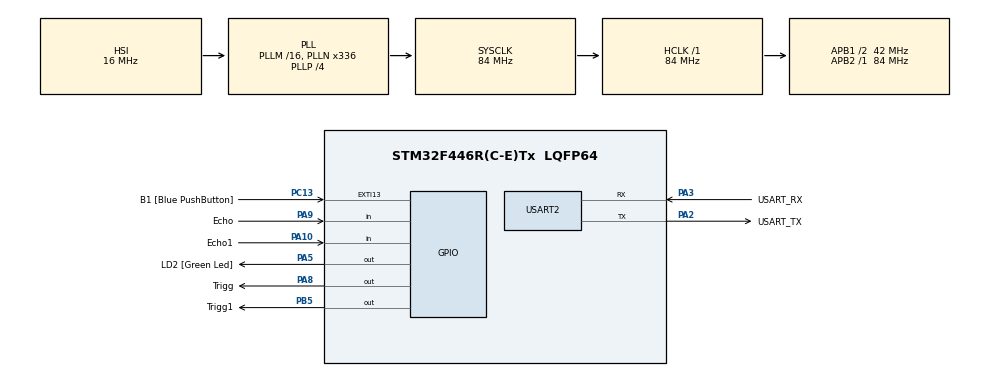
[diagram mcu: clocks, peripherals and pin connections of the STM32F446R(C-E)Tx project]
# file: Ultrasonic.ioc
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FREERTOS.Tasks01=Task01,0,128,StartTask01,Default,NULL,Dynamic,NULL,NULL;myTask02,2,128,StartTask02,Default,NULL,Dynamic,NULL,NULL
Mcu.Family=STM32F4
Mcu.Name=STM32F446R(C-E)Tx
Mcu.Package=LQFP64
NVIC.PriorityGroup=NVIC_PRIORITYGROUP_4
PA10.GPIO_Label=Echo1
PA10.Signal=GPIO_Input
PA13.GPIO_Label=TMS
PA13.Mode=Serial_Wire
PA13.Signal=SYS_JTMS-SWDIO
PA14.GPIO_Label=TCK
PA14.Mode=Serial_Wire
PA14.Signal=SYS_JTCK-SWCLK
PA2.GPIO_Label=USART_TX
PA2.Mode=Asynchronous
PA2.Signal=USART2_TX
PA3.GPIO_Label=USART_RX
PA3.Mode=Asynchronous
PA3.Signal=USART2_RX
PA5.GPIO_Label=LD2 [Green Led]
PA5.Signal=GPIO_Output
PA8.GPIO_Label=Trigg
PA8.Signal=GPIO_Output
PA9.GPIO_Label=Echo
PA9.Signal=GPIO_Input
PB3.GPIO_Label=SWO
PB3.Signal=SYS_JTDO-SWO
PB5.GPIO_Label=Trigg1
PB5.Signal=GPIO_Output
PC13.GPIO_Label=B1 [Blue PushButton]
PC13.GPIO_ModeDefaultEXTI=GPIO_MODE_IT_FALLING
PC13.Signal=GPXTI13
PC14-OSC32_IN.Mode=LSE-External-Oscillator
PC14-OSC32_IN.Signal=RCC_OSC32_IN
PC15-OSC32_OUT.Mode=LSE-External-Oscillator
PC15-OSC32_OUT.Signal=RCC_OSC32_OUT
PH0-OSC_IN.Mode=HSE-External-Oscillator
PH0-OSC_IN.Signal=RCC_OSC_IN
PH1-OSC_OUT.Mode=HSE-External-Oscillator
PH1-OSC_OUT.Signal=RCC_OSC_OUT
ProjectManager.HeapSize=0x200
ProjectManager.StackSize=0x400
ProjectManager.TargetToolchain=STM32CubeIDE
RCC.48MHZClocksFreq_Value=84000000
RCC.AHBFreq_Value=84000000
RCC.APB1CLKDivider=RCC_HCLK_DIV2
RCC.APB1Freq_Value=42000000
RCC.APB1TimFreq_Value=84000000
RCC.APB2Freq_Value=84000000
RCC.APB2TimFreq_Value=84000000
RCC.CortexFreq_Value=84000000
RCC.FLatency-AdvancedSettings=FLASH_LATENCY_2
RCC.HCLKFreq_Value=84000000
RCC.HSE_VALUE=8000000
RCC.HSI_VALUE=16000000
RCC.PLLN=336
RCC.PLLP=RCC_PLLP_DIV4
RCC.SYSCLKFreq_VALUE=84000000
RCC.SYSCLKSource=RCC_SYSCLKSOURCE_PLLCLK
RCC.USBFreq_Value=168000000
RCC.VCOOutputFreq_Value=336000000
TIM4.Prescaler=84-1
USART2.VirtualMode=VM_ASYNC
VP_FREERTOS_VS_CMSIS_V1.Mode=CMSIS_V1
VP_TIM4_VS_ClockSourceINT.Mode=Internal
board=NUCLEO-F446RE

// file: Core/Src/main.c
/* USER CODE BEGIN Header */
/**
  ******************************************************************************
  * @file           : main.c
  * @brief          : Main program body
  ******************************************************************************
  * @attention
  *
  * Copyright (c) 2022 STMicroelectronics.
  * All rights reserved.
  *
  * This software is licensed under terms that can be found in the LICENSE file
  * in the root directory of this software component.
  * If no LICENSE file comes with this software, it is provided AS-IS.
  *
  ******************************************************************************
  */
/* USER CODE END Header */
#include "main.h"
#include <string.h>
#include <stdio.h>
#include "cmsis_os.h"
#define usTIM	TIM4

/* USER CODE BEGIN PD */
const float speedOfSound = 0.0343/2;
float distance;

char uartBuf[100];
/* USER CODE END PD */

TIM_HandleTypeDef htim4;

UART_HandleTypeDef huart2;

osThreadId Task01Handle;
osThreadId myTask02Handle;

void SystemClock_Config(void);
static void MX_GPIO_Init(void);
static void MX_USART2_UART_Init(void);
static void MX_TIM4_Init(void);
void StartTask01(void const * argument);
void StartTask02(void const * argument);

int main(void)
{

  /* MCU Configuration--------------------------------------------------------*/

  /* Reset of all peripherals, Initializes the Flash interface and the Systick. */
  HAL_Init();

  /* Configure the system clock */
  SystemClock_Config();

  /* Initialize all configured peripherals */
  MX_GPIO_Init();
  MX_USART2_UART_Init();
  MX_TIM4_Init();

  /* Create the thread(s) */
  /* definition and creation of Task01 */
  osThreadDef(Task01, StartTask01, osPriorityNormal, 0, 128);
  Task01Handle = osThreadCreate(osThread(Task01), NULL);

  /* definition and creation of myTask02 */
  osThreadDef(myTask02, StartTask02, osPriorityHigh, 0, 128);
  myTask02Handle = osThreadCreate(osThread(myTask02), NULL);

  /* Start scheduler */
  osKernelStart();

  /* We should never get here as control is now taken by the scheduler */
  /* Infinite loop */
  while (1)
  {

    /* USER CODE BEGIN 3 */
		//Set TRIG to LOW for few uSec

  }
  /* USER CODE END 3 */
}

void SystemClock_Config(void)
{
  RCC_OscInitTypeDef RCC_OscInitStruct = {0};
  RCC_ClkInitTypeDef RCC_ClkInitStruct = {0};

  /** Configure the main internal regulator output voltage
  */
  __HAL_RCC_PWR_CLK_ENABLE();
  __HAL_PWR_VOLTAGESCALING_CONFIG(PWR_REGULATOR_VOLTAGE_SCALE3);

  /** Initializes the RCC Oscillators according to the specified parameters
  * in the RCC_OscInitTypeDef structure.
  */
  RCC_OscInitStruct.OscillatorType = RCC_OSCILLATORTYPE_HSI;
  RCC_OscInitStruct.HSIState = RCC_HSI_ON;
  RCC_OscInitStruct.HSICalibrationValue = RCC_HSICALIBRATION_DEFAULT;
  RCC_OscInitStruct.PLL.PLLState = RCC_PLL_ON;
  RCC_OscInitStruct.PLL.PLLSource = RCC_PLLSOURCE_HSI;
  RCC_OscInitStruct.PLL.PLLM = 16;
  RCC_OscInitStruct.PLL.PLLN = 336;
  RCC_OscInitStruct.PLL.PLLP = RCC_PLLP_DIV4;
  RCC_OscInitStruct.PLL.PLLQ = 2;
  RCC_OscInitStruct.PLL.PLLR = 2;
  if (HAL_RCC_OscConfig(&RCC_OscInitStruct) != HAL_OK)
  {
    Error_Handler();
  }

  /** Initializes the CPU, AHB and APB buses clocks
  */
  RCC_ClkInitStruct.ClockType = RCC_CLOCKTYPE_HCLK|RCC_CLOCKTYPE_SYSCLK
                              |RCC_CLOCKTYPE_PCLK1|RCC_CLOCKTYPE_PCLK2;
  RCC_ClkInitStruct.SYSCLKSource = RCC_SYSCLKSOURCE_PLLCLK;
  RCC_ClkInitStruct.AHBCLKDivider = RCC_SYSCLK_DIV1;
  RCC_ClkInitStruct.APB1CLKDivider = RCC_HCLK_DIV2;
  RCC_ClkInitStruct.APB2CLKDivider = RCC_HCLK_DIV1;

  if (HAL_RCC_ClockConfig(&RCC_ClkInitStruct, FLASH_LATENCY_2) != HAL_OK)
  {
    Error_Handler();
  }
}

static void MX_TIM4_Init(void)
{

  TIM_ClockConfigTypeDef sClockSourceConfig = {0};
  TIM_MasterConfigTypeDef sMasterConfig = {0};

  htim4.Instance = TIM4;
  htim4.Init.Prescaler = 84-1;
  htim4.Init.CounterMode = TIM_COUNTERMODE_UP;
  htim4.Init.Period = 65535;
  htim4.Init.ClockDivision = TIM_CLOCKDIVISION_DIV1;
  htim4.Init.AutoReloadPreload = TIM_AUTORELOAD_PRELOAD_DISABLE;
  if (HAL_TIM_Base_Init(&htim4) != HAL_OK)
  {
    Error_Handler();
  }
  sClockSourceConfig.ClockSource = TIM_CLOCKSOURCE_INTERNAL;
  if (HAL_TIM_ConfigClockSource(&htim4, &sClockSourceConfig) != HAL_OK)
  {
    Error_Handler();
  }
  sMasterConfig.MasterOutputTrigger = TIM_TRGO_RESET;
  sMasterConfig.MasterSlaveMode = TIM_MASTERSLAVEMODE_DISABLE;
  if (HAL_TIMEx_MasterConfigSynchronization(&htim4, &sMasterConfig) != HAL_OK)
  {
    Error_Handler();
  }

}

static void MX_USART2_UART_Init(void)
{

  huart2.Instance = USART2;
  huart2.Init.BaudRate = 115200;
  huart2.Init.WordLength = UART_WORDLENGTH_8B;
  huart2.Init.StopBits = UART_STOPBITS_1;
  huart2.Init.Parity = UART_PARITY_NONE;
  huart2.Init.Mode = UART_MODE_TX_RX;
  huart2.Init.HwFlowCtl = UART_HWCONTROL_NONE;
  huart2.Init.OverSampling = UART_OVERSAMPLING_16;
  if (HAL_UART_Init(&huart2) != HAL_OK)
  {
    Error_Handler();
  }

}

static void MX_GPIO_Init(void)
{
  GPIO_InitTypeDef GPIO_InitStruct = {0};

  /* GPIO Ports Clock Enable */
  __HAL_RCC_GPIOC_CLK_ENABLE();
  __HAL_RCC_GPIOH_CLK_ENABLE();
  __HAL_RCC_GPIOA_CLK_ENABLE();
  __HAL_RCC_GPIOB_CLK_ENABLE();

  /*Configure GPIO pin Output Level */
  HAL_GPIO_WritePin(GPIOA, LD2_Pin|Trigg_Pin, GPIO_PIN_RESET);

  /*Configure GPIO pin Output Level */
  HAL_GPIO_WritePin(Trigg1_GPIO_Port, Trigg1_Pin, GPIO_PIN_RESET);

  /*Configure GPIO pin : B1_Pin */
  GPIO_InitStruct.Pin = B1_Pin;
  GPIO_InitStruct.Mode = GPIO_MODE_IT_FALLING;
  GPIO_InitStruct.Pull = GPIO_NOPULL;
  HAL_GPIO_Init(B1_GPIO_Port, &GPIO_InitStruct);

  /*Configure GPIO pins : LD2_Pin Trigg_Pin */
  GPIO_InitStruct.Pin = LD2_Pin|Trigg_Pin;
  GPIO_InitStruct.Mode = GPIO_MODE_OUTPUT_PP;
  GPIO_InitStruct.Pull = GPIO_NOPULL;
  GPIO_InitStruct.Speed = GPIO_SPEED_FREQ_LOW;
  HAL_GPIO_Init(GPIOA, &GPIO_InitStruct);

  /*Configure GPIO pins : Echo_Pin Echo1_Pin */
  GPIO_InitStruct.Pin = Echo_Pin|Echo1_Pin;
  GPIO_InitStruct.Mode = GPIO_MODE_INPUT;
  GPIO_InitStruct.Pull = GPIO_NOPULL;
  HAL_GPIO_Init(GPIOA, &GPIO_InitStruct);

  /*Configure GPIO pin : Trigg1_Pin */
  GPIO_InitStruct.Pin = Trigg1_Pin;
  GPIO_InitStruct.Mode = GPIO_MODE_OUTPUT_PP;
  GPIO_InitStruct.Pull = GPIO_NOPULL;
  GPIO_InitStruct.Speed = GPIO_SPEED_FREQ_LOW;
  HAL_GPIO_Init(Trigg1_GPIO_Port, &GPIO_InitStruct);

}

/* USER CODE BEGIN 4 */
void usDelay(uint32_t uSec)
{
	if(uSec < 2) uSec = 2;
	usTIM->ARR = uSec - 1; 	/*sets the value in the auto-reload register*/
	usTIM->EGR = 1; 			/*Re-initialises the timer*/
	usTIM->SR &= ~1; 		//Resets the flag
	usTIM->CR1 |= 1; 		//Enables the counter
	while((usTIM->SR&0x0001) != 1);
	usTIM->SR &= ~(0x0001);
}
/* USER CODE END 4 */

void StartTask01(void const * argument)
{
	uint32_t numTicks = 0;
  /* USER CODE BEGIN 5 */
  /* Infinite loop */
  while(1)
  {
	  HAL_GPIO_WritePin(Trigg_GPIO_Port, Trigg_Pin, GPIO_PIN_RESET);
	  		usDelay(3);

	  		//*** START Ultrasonic measure routine ***//
	  		//1. Output 10 usec TRIG
	  		//HAL_GPIO_WritePin(Trigg_GPIO_Port, Trigg_Pin, GPIO_PIN_SET);
	  		//usDelay(10);
	  		HAL_GPIO_WritePin(Trigg_GPIO_Port, Trigg_Pin, GPIO_PIN_RESET);

	  		//2. Wait for ECHO pin rising edge
	  		while(HAL_GPIO_ReadPin(Echo_GPIO_Port, Echo_Pin) == GPIO_PIN_RESET);

	  		//3. Start measuring ECHO pulse width in usec
	  		numTicks = 0;
	  		while(HAL_GPIO_ReadPin(Echo_GPIO_Port, Echo_Pin) == GPIO_PIN_SET)
	  		{
	  			numTicks++;
	  			usDelay(2); //2.8usec
	  		};

	  		//4. Estimate distance in cm
	  		distance = (numTicks + 0.0f)*2.8*speedOfSound;

	  		//5. Print to UART terminal for debugging
	  		sprintf(uartBuf, "Distance from Task 1 (cm)  = %.1f\r\n", distance);
	  		HAL_UART_Transmit(&huart2, (uint8_t *)uartBuf, strlen(uartBuf), 100);

    HAL_Delay(100);
  }
  /* USER CODE END 5 */
}

void StartTask02(void const * argument)
{
	uint32_t numTicks = 0;
  /* USER CODE BEGIN StartTask02 */
  /* Infinite loop */
while(1)
  {
	  HAL_GPIO_WritePin(Trigg1_GPIO_Port, Trigg1_Pin, GPIO_PIN_RESET);
	  		usDelay(3);

	  		//*** START Ultrasonic measure routine ***//
	  		//1. Output 10 usec TRIG
	  		HAL_GPIO_WritePin(Trigg1_GPIO_Port, Trigg1_Pin, GPIO_PIN_SET);
	  		usDelay(10);
	  		HAL_GPIO_WritePin(Trigg1_GPIO_Port, Trigg1_Pin, GPIO_PIN_RESET);

	  		//2. Wait for ECHO pin rising edge
	  		while(HAL_GPIO_ReadPin(Echo1_GPIO_Port, Echo1_Pin) == GPIO_PIN_RESET);

	  		//3. Start measuring ECHO pulse width in usec
	  		numTicks = 0;
	  		while(HAL_GPIO_ReadPin(Echo1_GPIO_Port, Echo1_Pin) == GPIO_PIN_SET)
	  		{
	  			numTicks++;
	  			usDelay(2); //2.8usec
	  		};

	  		//4. Estimate distance in cm
	  		distance = (numTicks + 0.0f)*2.8*speedOfSound;

	  		//5. Print to UART terminal for debugging
	  		sprintf(uartBuf, "Distance (cm)from Task 2  = %.1f\r\n", distance);
	  		HAL_UART_Transmit(&huart2, (uint8_t *)uartBuf, strlen(uartBuf), 100);

	  		HAL_Delay(1000);
  }
  /* USER CODE END StartTask02 */
}

void Error_Handler(void)
{
  __disable_irq();
  while (1)
  {
  }
}
